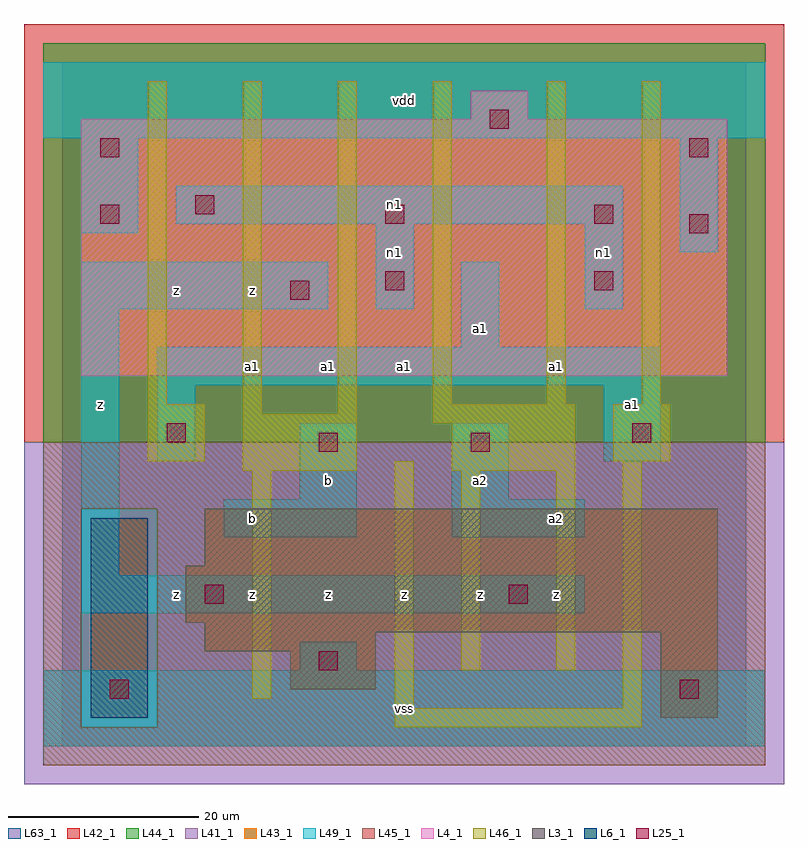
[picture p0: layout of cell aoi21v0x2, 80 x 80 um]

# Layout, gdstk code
import gdstk
lib = gdstk.Library(unit=1e-6, precision=1e-09)
def R(c, l, rs):  # rectangles x0, y0, x1, y1
    for r in rs: c.add(gdstk.rectangle(r[:2], r[2:], *l))
L3_1 = (3, 1)
L4_1 = (4, 1)
L6_1 = (6, 1)
L25_1 = (25, 1)
L41_1 = (41, 1)
L42_1 = (42, 1)
L43_1 = (43, 1)
L44_1 = (44, 1)
L45_1 = (45, 1)
L46_1 = (46, 1)
L49_1 = (49, 1)
L63_1 = (63, 1)

aoi21v0x2 = lib.new_cell('aoi21v0x2')
R(aoi21v0x2, L3_1, [(63,3,69,12), (24,6,33,10), (15,10,33,12), (15,12,69,13), (13,13,69,19), (15,19,69,25)])
R(aoi21v0x2, L4_1, [(2,39,70,66), (43,66,49,69)])
R(aoi21v0x2, L6_1, [(3,3,9,24), (3,3,9,24)])
R(aoi21v0x2, L25_1, [(5,5,7,7), (65,5,67,7), (27,8,29,10), (15,15,17,17), (47,15,49,17), (27,31,29,33), (43,31,45,33), (11,32,13,34), (60,32,62,34), (24,47,26,49), (34,48,36,50), (56,48,58,50), (66,54,68,56), (4,55,6,57), (34,55,36,57), (56,55,58,57), (14,56,16,58), (4,62,6,64), (66,62,68,64), (45,65,47,67)])
R(aoi21v0x2, L41_1, [(-4,-4,76,32)])
R(aoi21v0x2, L42_1, [(-4,32,76,76)])
R(aoi21v0x2, L43_1, [(3,3,9,24), (63,3,69,12), (24,6,33,10), (15,10,33,12), (15,12,69,13), (13,13,69,19), (15,19,69,25), (2,39,70,66), (43,66,49,69)])
R(aoi21v0x2, L44_1, [(2,2,10,25), (-2,32,74,74)])
R(aoi21v0x2, L45_1, [(-2,-2,74,2), (-2,2,2,25), (10,2,74,25), (-2,25,74,32)])
R(aoi21v0x2, L46_1, [(35,2,61,4), (35,4,37,30), (59,4,61,30), (20,5,22,29), (42,8,44,29), (52,8,54,29), (19,29,31,35), (41,29,54,34), (9,30,15,36), (58,30,64,36), (39,34,54,36), (19,35,21,70), (29,35,31,70), (9,36,11,70), (39,36,41,70), (51,36,53,70), (61,36,63,70)])
R(aoi21v0x2, L49_1, [(-2,0,74,8), (25,8,31,11), (2,14,55,18), (2,18,6,46), (17,22,31,26), (41,22,55,26), (25,26,31,34), (41,26,47,34), (10,30,14,38), (57,30,63,38), (10,38,63,42), (42,42,46,51), (2,46,28,51), (33,46,37,55), (55,46,59,55), (65,52,69,64), (2,54,8,64), (12,55,59,59), (-2,64,74,72)])
R(aoi21v0x2, L63_1, [(0,0,72,72)])
aoi21v0x2.add(gdstk.Label('z', (4,36), layer=49, texttype=1))
aoi21v0x2.add(gdstk.Label('z', (20,16), layer=49, texttype=1))
aoi21v0x2.add(gdstk.Label('z', (12,16), layer=49, texttype=1))
aoi21v0x2.add(gdstk.Label('b', (20,24), layer=49, texttype=1))
aoi21v0x2.add(gdstk.Label('a1', (20,40), layer=49, texttype=1))
aoi21v0x2.add(gdstk.Label('z', (12,48), layer=49, texttype=1))
aoi21v0x2.add(gdstk.Label('z', (20,48), layer=49, texttype=1))
aoi21v0x2.add(gdstk.Label('vss', (36,4), layer=49, texttype=1))
aoi21v0x2.add(gdstk.Label('z', (36,16), layer=49, texttype=1))
aoi21v0x2.add(gdstk.Label('z', (28,16), layer=49, texttype=1))
aoi21v0x2.add(gdstk.Label('b', (28,28), layer=49, texttype=1))
aoi21v0x2.add(gdstk.Label('a1', (28,40), layer=49, texttype=1))
aoi21v0x2.add(gdstk.Label('a1', (36,40), layer=49, texttype=1))
aoi21v0x2.add(gdstk.Label('n1', (35,52), layer=49, texttype=1))
aoi21v0x2.add(gdstk.Label('vdd', (36,68), layer=49, texttype=1))
aoi21v0x2.add(gdstk.Label('z', (52,16), layer=49, texttype=1))
aoi21v0x2.add(gdstk.Label('z', (44,16), layer=49, texttype=1))
aoi21v0x2.add(gdstk.Label('a2', (52,24), layer=49, texttype=1))
aoi21v0x2.add(gdstk.Label('a2', (44,28), layer=49, texttype=1))
aoi21v0x2.add(gdstk.Label('a1', (52,40), layer=49, texttype=1))
aoi21v0x2.add(gdstk.Label('a1', (44,44), layer=49, texttype=1))
aoi21v0x2.add(gdstk.Label('a1', (60,36), layer=49, texttype=1))
aoi21v0x2.add(gdstk.Label('n1', (57,52), layer=49, texttype=1))
aoi21v0x2.add(gdstk.Label('n1', (35,57), layer=49, texttype=1))

lib.write_gds('aoi21v0x2.gds')
